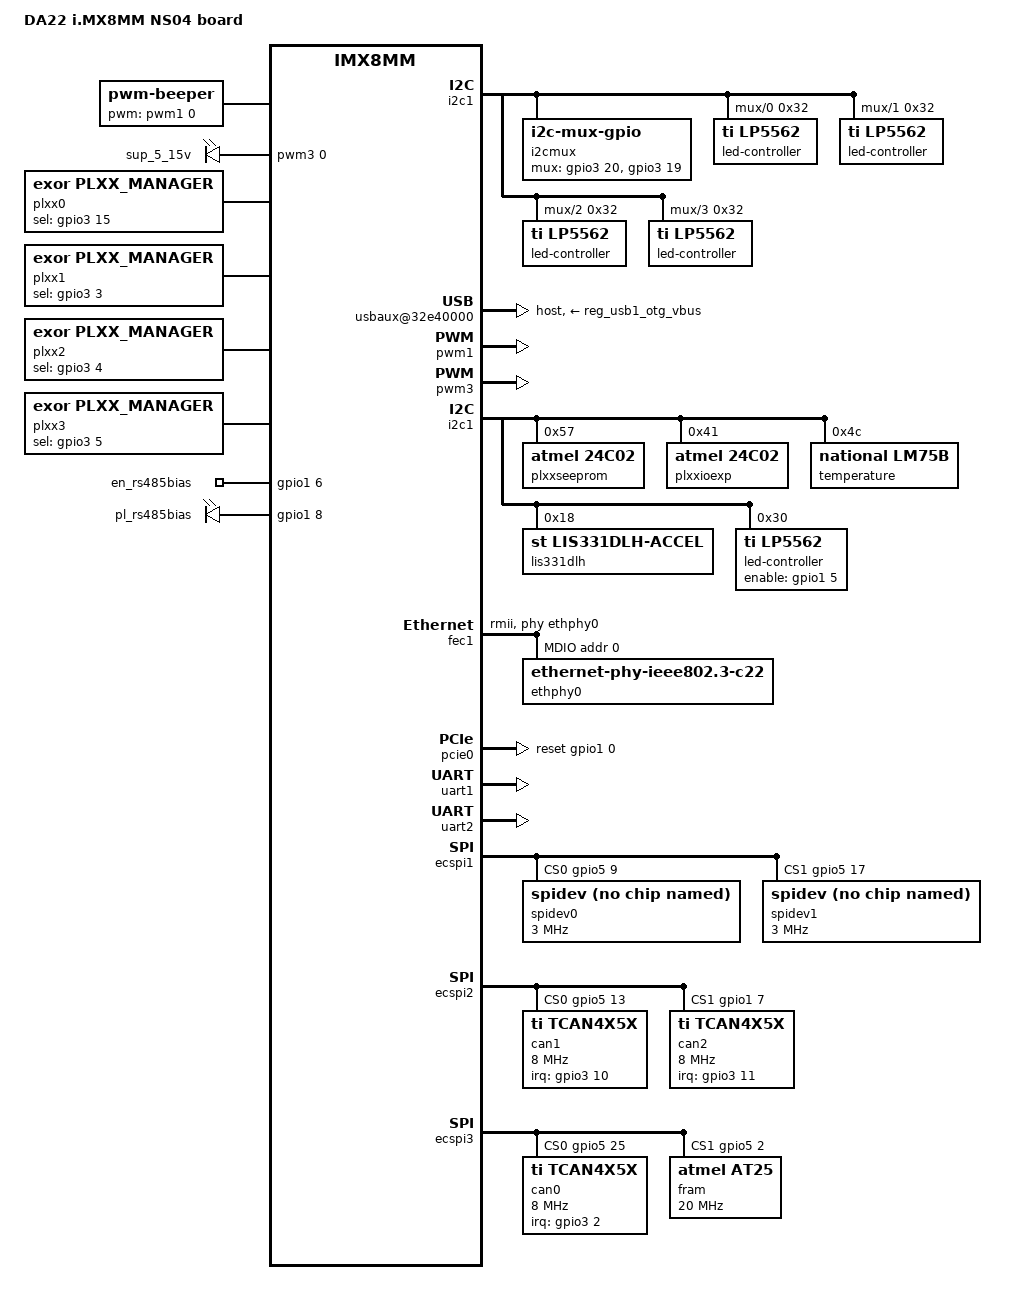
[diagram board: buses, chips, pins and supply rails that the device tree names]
/*
 * Copyright (C) 2022 Exor S.p.a
 * 
 * Written by: G. Pavoni Exor S.p.a.
 * 
 * Copyright (C) 2013 Freescale Semiconductor, Inc.
 *
 * This program is free software; you can redistribute it and/or modify
 * it under the terms of the GNU General Public License version 2 as
 * published by the Free Software Foundation.
 */
  
/dts-v1/;
  
#include "imx8mm_ns04.dtsi"
#include <dt-bindings/leds/common.h>
  
/ {
	model = "DA22 i.MX8MM NS04 board";

	aliases {
		serial0 = &uart1;
		serial1 = &uart2;
	};

	beeper {
		compatible = "pwm-beeper";
		pwms = <&pwm1 0 50000 0>;
	};

	pwmleds {
		compatible = "pwm-leds";
		sup_5_15v_pwm {
			label = "sup_5_15v";
			pwms = <&pwm3 0 200000 0>;
			max-brightness = <12>;
			default-state = "on";
		};
	};	

	working_hours {
	  compatible = "working_hours";
	  nvmem-names = "eeprom", "rtcnvram";
	  nvmem = <&seeprom0>, <&m41t83>;
	  status = "okay";
	};	

	plxx0: plugin0 {
	  compatible = "exor,plxx_manager";
	  nvmem-names = "eeprom", "ioexp";
	  nvmem = <&plxxseeprom>, <&plxxioexp>;
	  sel-gpio = <&gpio3 15 0>;
	  index = <0>;
	  status = "okay";
	};	
	
	plxx1: plugin1 {
	  compatible = "exor,plxx_manager";
	  nvmem-names = "eeprom", "ioexp";
	  nvmem = <&plxxseeprom>, <&plxxioexp>;
	  sel-gpio = <&gpio3 3 0>;
	  index = <1>;
	  status = "okay";
	};	
	
	plxx2: plugin2 {
	  compatible = "exor,plxx_manager";
	  nvmem-names = "eeprom", "ioexp";
	  nvmem = <&plxxseeprom>, <&plxxioexp>;
	  sel-gpio = <&gpio3 4 0>;
	  index = <2>;
	  status = "okay";
	};	
	
	plxx3: plugin3 {
	  compatible = "exor,plxx_manager";
	  nvmem-names = "eeprom", "ioexp";
	  nvmem = <&plxxseeprom>, <&plxxioexp>;
	  sel-gpio = <&gpio3 5 0>;
	  index = <3>;
	  status = "okay";
	};	
	
	i2cmux {
		compatible = "i2c-mux-gpio";
		#address-cells = <1>;
		#size-cells = <0>;
		mux-gpios = <&gpio3 20 0 &gpio3 19 0>;
		i2c-parent = <&i2c1>;

		i2c@0 {
			reg = <0>;
			#address-cells = <1>;
			#size-cells = <0>;
			
			led-controller@32 {
				compatible = "ti,lp5562";
				reg = <0x32>;
				clock-mode = /bits/ 8 <1>;
				status = "okay";
				#address-cells = <1>;
				#size-cells = <0>;

				chan@0 {
					chan-name = "pl0_R";
					led-cur = /bits/ 8 <0x50>;
					max-cur = /bits/ 8 <0x60>;
					color = <LED_COLOR_ID_RED>;
					reg = <0>;
				};

				chan@1 {
					chan-name = "pl0_G";
					led-cur = /bits/ 8 <0x14>;
					max-cur = /bits/ 8 <0x60>;
					color = <LED_COLOR_ID_GREEN>;
					linux,default-trigger = "default-on";
					reg = <1>;
				};

				chan@2 {
					chan-name = "pl0_B";
					led-cur = /bits/ 8 <0x60>;
					max-cur = /bits/ 8 <0x60>;
					color = <LED_COLOR_ID_BLUE>;
					reg = <2>;
				};

				chan@3 {
					chan-name = "pl0_W";
					led-cur = /bits/ 8 <0x0>;
					max-cur = /bits/ 8 <0x0>;
					color = <LED_COLOR_ID_WHITE>;
					reg = <3>;
				};
			};				
		};

		i2c@1 {
			reg = <1>;
			#address-cells = <1>;
			#size-cells = <0>;
			
			led-controller@32 {
				compatible = "ti,lp5562";
				reg = <0x32>;
				clock-mode = /bits/ 8 <1>;
				status = "okay";
				#address-cells = <1>;
				#size-cells = <0>;

				chan@0 {
					chan-name = "pl1_R";
					led-cur = /bits/ 8 <0x50>;
					max-cur = /bits/ 8 <0x60>;
					color = <LED_COLOR_ID_RED>;
					reg = <0>;
				};

				chan@1 {
					chan-name = "pl1_G";
					led-cur = /bits/ 8 <0x14>;
					max-cur = /bits/ 8 <0x60>;
					color = <LED_COLOR_ID_GREEN>;
					linux,default-trigger = "default-on";
					reg = <1>;
				};

				chan@2 {
					chan-name = "pl1_B";
					led-cur = /bits/ 8 <0x60>;
					max-cur = /bits/ 8 <0x60>;
					color = <LED_COLOR_ID_BLUE>;
					reg = <2>;
				};

				chan@3 {
					chan-name = "pl1_W";
					led-cur = /bits/ 8 <0x0>;
					max-cur = /bits/ 8 <0x0>;
					color = <LED_COLOR_ID_WHITE>;
					reg = <3>;
				};
			};				
		};
		
		i2c@2 {
			reg = <2>;
			#address-cells = <1>;
			#size-cells = <0>;
			
			led-controller@32 {
				compatible = "ti,lp5562";
				reg = <0x32>;
				clock-mode = /bits/ 8 <1>;
				status = "okay";
				#address-cells = <1>;
				#size-cells = <0>;

				chan@0 {
					chan-name = "pl2_R";
					led-cur = /bits/ 8 <0x50>;
					max-cur = /bits/ 8 <0x60>;
					color = <LED_COLOR_ID_RED>;
					reg = <0>;
				};

				chan@1 {
					chan-name = "pl2_G";
					led-cur = /bits/ 8 <0x14>;
					max-cur = /bits/ 8 <0x60>;
					color = <LED_COLOR_ID_GREEN>;
					linux,default-trigger = "default-on";
					reg = <1>;
				};

				chan@2 {
					chan-name = "pl2_B";
					led-cur = /bits/ 8 <0x60>;
					max-cur = /bits/ 8 <0x60>;
					color = <LED_COLOR_ID_BLUE>;
					reg = <2>;
				};

				chan@3 {
					chan-name = "pl2_W";
					led-cur = /bits/ 8 <0x0>;
					max-cur = /bits/ 8 <0x0>;
					color = <LED_COLOR_ID_WHITE>;
					reg = <3>;
				};
			};				
		};
		
		i2c@3 {
			reg = <3>;
			#address-cells = <1>;
			#size-cells = <0>;
			
			led-controller@32 {
				compatible = "ti,lp5562";
				reg = <0x32>;
				clock-mode = /bits/ 8 <1>;
				status = "okay";
				#address-cells = <1>;
				#size-cells = <0>;

				chan@0 {
					chan-name = "pl3_R";
					led-cur = /bits/ 8 <0x50>;
					max-cur = /bits/ 8 <0x60>;
					color = <LED_COLOR_ID_RED>;
					reg = <0>;
				};

				chan@1 {
					chan-name = "pl3_G";
					led-cur = /bits/ 8 <0x14>;
					max-cur = /bits/ 8 <0x60>;
					color = <LED_COLOR_ID_GREEN>;
					linux,default-trigger = "default-on";
					reg = <1>;
				};

				chan@2 {
					chan-name = "pl3_B";
					led-cur = /bits/ 8 <0x60>;
					max-cur = /bits/ 8 <0x60>;
					color = <LED_COLOR_ID_BLUE>;
					reg = <2>;
				};

				chan@3 {
					chan-name = "pl3_W";
					led-cur = /bits/ 8 <0x0>;
					max-cur = /bits/ 8 <0x0>;
					color = <LED_COLOR_ID_WHITE>;
					reg = <3>;
				};
			};				
		};
	};	
	
};

&aips4 {
	usbaux@32e40000 {
		compatible = "fsl,imx8mm-usb", "fsl,imx7d-usb";
		reg = <0x32e40000 0x200>;
		interrupts = <GIC_SPI 40 IRQ_TYPE_LEVEL_HIGH>;
		clocks = <&clk IMX8MM_CLK_USB1_CTRL_ROOT>;
		clock-names = "usb1_ctrl_root_clk";
		assigned-clocks = <&clk IMX8MM_CLK_USB_BUS>;
		assigned-clock-parents = <&clk IMX8MM_SYS_PLL2_500M>;
		fsl,usbphy = <&usbphynop1>;
		fsl,usbmisc = <&usbmisc1 0>;
		power-domains = <&usb_otg1_pd>;
		
		dr_mode = "host";
		vbus-supply = <&reg_usb1_otg_vbus>;
		picophy,pre-emp-curr-control = <3>;
		picophy,dc-vol-level-adjust = <7>;
		status = "okay";
	};	
};

/delete-node/&usbotg1;

&leds{
		led@3 {
			label = "en_rs485bias";
			gpios = <&gpio1 6 0>;
			default-state = "off";
		};
		led@4 {
			label = "pl_rs485bias";
			gpios = <&gpio1 8 0>;
			default-state = "off";
		};
};

&pwm1 {
	pinctrl-names = "default";
	pinctrl-0 = <&pinctrl_pwm1>;
	status = "okay";
};

&pwm3 {
	pinctrl-names = "default";
	pinctrl-0 = <&pinctrl_pwm3>;
	status = "okay";
};

&i2c1 {

	plxxseeprom:seeprom1@57 {
		compatible = "atmel,24c02";
		reg = <0x57>;
	};

	plxxioexp:ioexp1@41 {
		compatible = "atmel,24c02";
		reg = <0x41>;
	};    
	
	temperature:lm75b@4c {
		compatible = "national,lm75b";
		reg = <0x4c>;
	};
	
	lis331dlh@18 {
		/* Accelerometer */
		compatible = "st,lis331dlh-accel";
		reg = <0x18>;
	};

	led-controller@30 {
		compatible = "ti,lp5562";
		reg = <0x30>;
		clock-mode = /bits/ 8 <1>;
		status = "okay";
		#address-cells = <1>;
		#size-cells = <0>;
		enable-gpio = <&gpio1 5 0>; 

		chan@0 {
			chan-name = "R";
			led-cur = /bits/ 8 <0x50>;
			max-cur = /bits/ 8 <0x60>;
            color = <LED_COLOR_ID_RED>;
 			reg = <0>;
		};

		chan@1 {
			chan-name = "G";
			led-cur = /bits/ 8 <0x14>;
			max-cur = /bits/ 8 <0x60>;
            color = <LED_COLOR_ID_GREEN>;
            linux,default-trigger = "default-on";
			reg = <1>;
		};

		chan@2 {
			chan-name = "B";
			led-cur = /bits/ 8 <0x60>;
			max-cur = /bits/ 8 <0x60>;
            color = <LED_COLOR_ID_BLUE>;
			reg = <2>;
		};

		chan@3 {
			chan-name = "W";
			led-cur = /bits/ 8 <0x0>;
			max-cur = /bits/ 8 <0x0>;
            color = <LED_COLOR_ID_WHITE>;
			reg = <3>;
		};
	};			
};

&fec1 {
	pinctrl-names = "default";
	pinctrl-0 = <&pinctrl_fec1>;
	phy-mode = "rmii";
	phy-handle = <&ethphy0>;
	fsl,magic-packet;
	status = "okay";

	mdio {
		#address-cells = <1>;
		#size-cells = <0>;

		ethphy0: ethernet-phy@0 {
			compatible = "ethernet-phy-ieee802.3-c22";
			max-speed = <100>;
			reg = <0>;
		};
	};
};

&pcie0{
	pinctrl-names = "default";
	pinctrl-0 = <&pinctrl_pcie0>;
	reset-gpio = <&gpio1 0 0>;
	ext_osc = <1>;
	fsl,max-link-speed = <1>;
	status = "okay";
};

&mipi_dsi {
	status = "disabled";
};

&dsi_lvds_bridge{
		/delete-property/enable-gpios;
		status = "disabled";
};

&uart1 { /* Main UART */
	/delete-property/dmas;
	/delete-property/dma-names;
	pinctrl-names = "default";
	pinctrl-0 = <&pinctrl_uart1>;
	fsl,uart-has-rtscts;
	rts-gpio = <&gpio4 24 0>;

	status = "okay";
};

&uart2 {
	pinctrl-names = "default";
	pinctrl-0 = <&pinctrl_uart2>;
	fsl,uart-has-rtscts;
	status = "okay";
	/delete-property/dmas;
	/delete-property/dma-names;
};

&ecspi1 { /* 2 x spidev devices for plugin modules */
    fsl,spi-num-chipselects = <2>;
    cs-gpios = <&gpio5 9 0>,  /* CS0 */
               <&gpio5 17 0>; /* CS1 */
	spi-imx,rt;
    pinctrl-names = "default";
    pinctrl-0 = <&pinctrl_ecspi1>;
    status = "okay";
	/delete-property/dmas;
	/delete-property/dma-names;
  
    spidev0: spi0@0 {
        compatible = "generic,spidev";
        reg = <0>;
        spi-max-frequency = <3000000>;
    };

    spidev1: spi0@1 {
        compatible = "generic,spidev";
        reg = <1>;
        spi-max-frequency = <3000000>;
    };
};

&ecspi2 { /* 2 x spidev; reserved for SPI-CAN plugins */
    fsl,spi-num-chipselects = <2>;
    cs-gpios = <&gpio5 13 0>,  /* CS0 */
               <&gpio1 7 0>;   /* CS1 */
	spi-imx,rt;
    pinctrl-names = "default";
    pinctrl-0 = <&pinctrl_ecspi2>;
    status = "okay";
	/delete-property/dmas;
	/delete-property/dma-names;
  
    can1: spi1@0 {
		compatible = "ti,tcan4x5x";
		reg = <0>;
		#address-cells = <1>;
		#size-cells = <1>;
		spi-max-frequency = <8000000>;
		bosch,mram-cfg = <0x0 0 0 16 0 0 2 2>;
		interrupt-parent = <&gpio3>;
		interrupts = <10 IRQ_TYPE_LEVEL_LOW>;
	};

    can2: spi1@1 {
		compatible = "ti,tcan4x5x";
		reg = <1>;
		#address-cells = <1>;
		#size-cells = <1>;
		spi-max-frequency = <8000000>;
		bosch,mram-cfg = <0x0 0 0 16 0 0 2 2>;
		interrupt-parent = <&gpio3>;
		interrupts = <11 IRQ_TYPE_LEVEL_LOW>;
    };
};

&ecspi3 {
    fsl,spi-num-chipselects = <2>;
    cs-gpios = <&gpio5 25 0>,  /* CS0 */
               <&gpio5 2 0>;   /* CS1 */
	spi-imx,rt;
    pinctrl-names = "default";
    pinctrl-0 = <&pinctrl_ecspi3>;
    status = "okay";
	/delete-property/dmas;
	/delete-property/dma-names;

    can0: spi3@0 {
		compatible = "ti,tcan4x5x";
		reg = <0>;
		#address-cells = <1>;
		#size-cells = <1>;
		spi-max-frequency = <8000000>;
		bosch,mram-cfg = <0x0 0 0 16 0 0 2 2>;
		interrupt-parent = <&gpio3>;
		interrupts = <2 IRQ_TYPE_LEVEL_LOW>;
	};    
	
	fram: at25@1 {
        compatible = "atmel,at25", "st,m95256";
        reg = <1>;
        spi-max-frequency = <20000000>;
        pagesize = <64>;
        size = <65536>;
        address-width = <16>;
    };
};

&iomuxc {
	imx8mm-evk {

		pinctrl_hog: hoggrp {
			fsl,pins = <
				MX8MM_IOMUXC_NAND_RE_B_GPIO3_IO15       0x1c4 /* plugin sel #0 */
				MX8MM_IOMUXC_NAND_CE2_B_GPIO3_IO3       0x1c4 /* plugin sel #1 */  
				MX8MM_IOMUXC_NAND_CE3_B_GPIO3_IO4       0x1c4 /* plugin sel #2 */  
				MX8MM_IOMUXC_NAND_CLE_GPIO3_IO5         0x1c4 /* plugin sel #3 */
				MX8MM_IOMUXC_GPIO1_IO06_GPIO1_IO6       0x1c4 /* en_rs485bias  */
				MX8MM_IOMUXC_GPIO1_IO08_GPIO1_IO8       0x1c4 /* pl_rs485bias  */
				MX8MM_IOMUXC_SAI5_RXC_GPIO3_IO20        0x1c4 /* i2c_mux_gpio1 */
				MX8MM_IOMUXC_SAI5_RXFS_GPIO3_IO19       0x1c4 /* i2c_mux_gpio1 */
				MX8MM_IOMUXC_GPIO1_IO05_GPIO1_IO5       0x1c4 /* PG_D          */
			>;
		};

		pinctrl_ecspi1: ecspi1grp {
			fsl,pins = <
				MX8MM_IOMUXC_ECSPI1_SCLK_ECSPI1_SCLK    0x11
				MX8MM_IOMUXC_ECSPI1_MOSI_ECSPI1_MOSI    0x11
				MX8MM_IOMUXC_ECSPI1_MISO_ECSPI1_MISO    0x11
				MX8MM_IOMUXC_ECSPI1_SS0_GPIO5_IO9       0x11 /* cs0 */ 
				MX8MM_IOMUXC_I2C2_SDA_GPIO5_IO17        0x11 /* cs1 */
				MX8MM_IOMUXC_NAND_WE_B_GPIO3_IO17       0x11 /* spi1_cs0_int */
				MX8MM_IOMUXC_NAND_WP_B_GPIO3_IO18       0x11 /* spi1_cs0_int */
			>;
		};

		pinctrl_ecspi2: ecspi2grp {
			fsl,pins = <
				MX8MM_IOMUXC_ECSPI2_SCLK_ECSPI2_SCLK    0x11
				MX8MM_IOMUXC_ECSPI2_MOSI_ECSPI2_MOSI    0x11
				MX8MM_IOMUXC_ECSPI2_MISO_ECSPI2_MISO    0x11
				MX8MM_IOMUXC_ECSPI2_SS0_GPIO5_IO13      0x11 /* cs0 */ 
				MX8MM_IOMUXC_GPIO1_IO07_GPIO1_IO7       0x11 /* cs1 */
				MX8MM_IOMUXC_NAND_DATA04_GPIO3_IO10     0x11 /* spi2_cs0_int */
				MX8MM_IOMUXC_NAND_DATA05_GPIO3_IO11     0x11 /* spi2_cs1_int */
			>;
		};

		pinctrl_ecspi3: ecspi3grp {
			fsl,pins = <
                MX8MM_IOMUXC_UART1_RXD_ECSPI3_SCLK      0x11
                MX8MM_IOMUXC_UART1_TXD_ECSPI3_MOSI      0x11
                MX8MM_IOMUXC_UART2_RXD_ECSPI3_MISO      0x11
                MX8MM_IOMUXC_UART2_TXD_GPIO5_IO25       0x11 /* cs0 (can) */
                MX8MM_IOMUXC_SAI3_MCLK_GPIO5_IO2        0x11 /* cs1 (fram) */
                MX8MM_IOMUXC_NAND_CE1_B_GPIO3_IO2       0x11 /* can_irq */
			>;
		};
		
		pinctrl_uart1: uart1grp {
			fsl,pins = <
				MX8MM_IOMUXC_SAI2_RXFS_UART1_DCE_TX	    0x140
				MX8MM_IOMUXC_SAI2_RXC_UART1_DCE_RX	    0x140
				MX8MM_IOMUXC_SAI2_TXFS_GPIO4_IO24	0x140
			>;
		};	

		pinctrl_uart2: uart2grp {
			fsl,pins = <
				MX8MM_IOMUXC_SAI3_TXFS_UART2_DCE_RX     0x140
				MX8MM_IOMUXC_SAI3_RXD_UART2_DCE_RTS_B   0x140
				MX8MM_IOMUXC_SAI3_RXC_UART2_DCE_CTS_B   0x140
				MX8MM_IOMUXC_SAI3_TXC_UART2_DCE_TX      0x140
			>;
		};
		
		pinctrl_pwm1: pwm1grp {
			fsl,pins = <
				MX8MM_IOMUXC_I2C4_SDA_PWM1_OUT            0x1c4
			>;
		};

		pinctrl_pwm3: pwm3grp {
			fsl,pins = <
				MX8MM_IOMUXC_SPDIF_TX_PWM3_OUT            0x1c4
			>;
		};

		pinctrl_pcie0: pcie0grp {
			fsl,pins = <
				MX8MM_IOMUXC_GPIO1_IO00_GPIO1_IO0         0x1c4
			>;
		};

		pinctrl_dig_io: pinctrl_dig_iogrp {
			fsl,pins = <
                MX8MM_IOMUXC_NAND_DATA02_GPIO3_IO8       0x1c4 /* in1   */
                MX8MM_IOMUXC_NAND_DATA03_GPIO3_IO9       0x1c4 /* in2   */
                MX8MM_IOMUXC_GPIO1_IO01_GPIO1_IO1        0x1c4 /* out1  */
 			>;
		};
		
		pinctrl_fec1: fec1grp {
			fsl,pins = <
				MX8MM_IOMUXC_ENET_MDC_ENET1_MDC		0x3
				MX8MM_IOMUXC_ENET_MDIO_ENET1_MDIO	0x3
				MX8MM_IOMUXC_ENET_TD2_ENET1_TX_CLK	0x4000001f
				MX8MM_IOMUXC_ENET_TD1_ENET1_RGMII_TD1	0x56
				MX8MM_IOMUXC_ENET_TD0_ENET1_RGMII_TD0	0x56
				MX8MM_IOMUXC_ENET_RD1_ENET1_RGMII_RD1	0x56
				MX8MM_IOMUXC_ENET_RD0_ENET1_RGMII_RD0	0x56
				MX8MM_IOMUXC_ENET_RXC_ENET1_RX_ER	0x56
				MX8MM_IOMUXC_ENET_RX_CTL_ENET1_RGMII_RX_CTL	0x56
				MX8MM_IOMUXC_ENET_TX_CTL_ENET1_RGMII_TX_CTL	0x56
			>;
		};
	};
};

